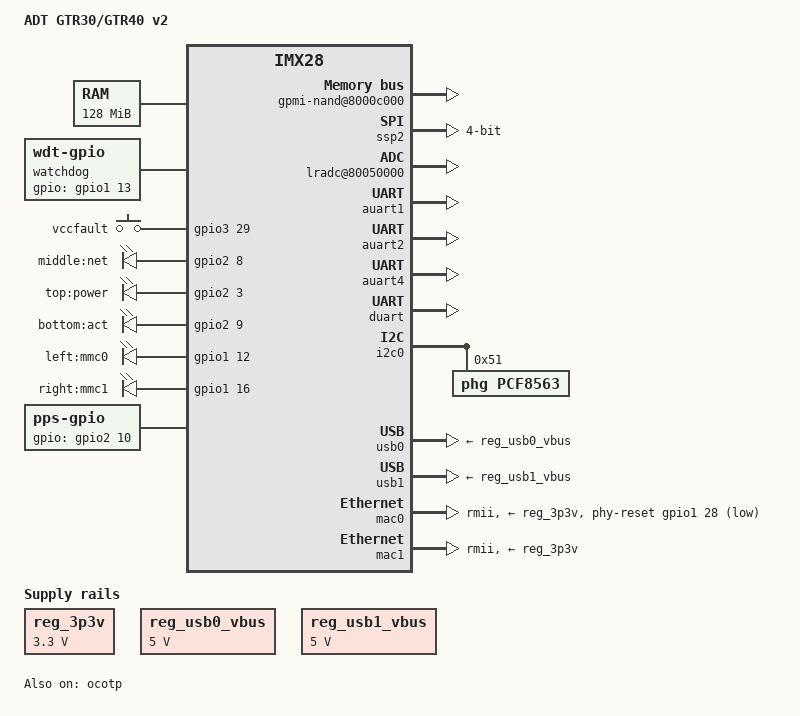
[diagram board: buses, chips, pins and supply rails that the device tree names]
/*
 *
 * Device Tree for rtu968_v1.0.1
 *
 */

/dts-v1/;
#include "imx28.dtsi"
/ {
	model = "ADT GTR30/GTR40 v2";
	compatible = "fsl,imx28";

	memory {
		reg = <0x40000000 0x08000000>;
	};

	apb@80000000 {
		apbh@80000000 
		{
			gpmi-nand@8000c000 
			{
				pinctrl-names = "default";
				pinctrl-0 = <&gpmi_pins_0 &gpmi_pins_1>;
				status = "okay";
			};
			pinctrl@80018000 
			{
				pinctrl-names = "default";
				pinctrl-0 = <&hog_pins>;
				auart4_pins: auart4-pins@0 {			/* RS232 */
					reg = <0>;
					fsl,pinmux-ids = <
						MX28_PAD_SSP3_SS0__AUART4_CTS
						MX28_PAD_SSP3_MISO__AUART4_RTS
						MX28_PAD_SSP3_MOSI__AUART4_RX
						MX28_PAD_SSP3_SCK__AUART4_TX
					>;
					fsl,drive-strength = <MXS_DRIVE_4mA>;
					fsl,voltage = <MXS_VOLTAGE_HIGH>;
					fsl,pull-up = <MXS_PULL_DISABLE>;
				};
				auart1_pins: auart1-pins@0 {					/* GPS  */
					reg = <0>;
					fsl,pinmux-ids = <
						MX28_PAD_AUART1_RX__AUART1_RX
						MX28_PAD_AUART1_TX__AUART1_TX
					>;
					fsl,drive-strength = <MXS_DRIVE_4mA>;
					fsl,voltage = <MXS_VOLTAGE_HIGH>;
					fsl,pull-up = <MXS_PULL_DISABLE>;
				};
				watchdog: watchdog@0 {
					reg = <0>;
					fsl,pinmux-ids = <
						MX28_PAD_LCD_D13__GPIO_1_13		/* WDGRES*/
					>;
					fsl,drive-strength = <MXS_DRIVE_4mA>;
					fsl,voltage = <MXS_VOLTAGE_HIGH>;
					fsl,pull-up = <MXS_PULL_DISABLE>;
				};
				gpio_pins_3V3: gpio-pins-3V3@0 {
					reg = <0>;
					fsl,pinmux-ids = <
						MX28_PAD_SSP2_MISO__GPIO_2_18			/* GSM.SIMA */

						MX28_PAD_AUART2_RX__GPIO_3_8			/* SIMDET.1# */
						MX28_PAD_SSP1_DATA3__GPIO_2_15			/* SIMDET.0# */
						MX28_PAD_AUART2_TX__GPIO_3_9			/* GSM.PWRKEY */
						MX28_PAD_SSP2_SS0__GPIO_2_19			/* GSM.VCCEN# */
						
						MX28_PAD_I2C0_SDA__GPIO_3_25		/* USBHOST.VCCEN.TRIG.STATE C*/
						MX28_PAD_SAIF1_SDATA0__GPIO_3_26		/* USBHOST.VCCEN.TRIG.CLK D*/
						MX28_PAD_PWM3__GPIO_3_28				/* USBHOST.MODE.SWITCHER */

						MX28_PAD_PWM4__GPIO_3_29				/* VCC.FAULT*/
						MX28_PAD_ENET0_TX_CLK__GPIO_4_5				/* GPIO on XW2 */
						MX28_PAD_ENET0_RX_CLK__GPIO_4_13			/* GPIO on XW2 */

						MX28_PAD_LCD_D19__GPIO_1_19				/* 0 PULLUP */
						MX28_PAD_LCD_D18__GPIO_1_18			/* 0 PULLDOWN */
						MX28_PAD_LCD_D22__GPIO_1_22			/* 1 PULLUP */
						MX28_PAD_LCD_D21__GPIO_1_21			/* 1 PULLDOWN */
						MX28_PAD_LCD_WR_RWN__GPIO_1_25			/* 2 PULLUP */
						MX28_PAD_SSP0_DATA0__GPIO_2_0		/* 2 PULLDOWN */
						MX28_PAD_SSP0_DATA2__GPIO_2_2			/* 3 PULLUP */
						MX28_PAD_SSP0_DATA1__GPIO_2_1			/* 3 PULLDOWN */
					>;
					fsl,drive-strength = <MXS_DRIVE_4mA>;
					fsl,voltage = <MXS_VOLTAGE_HIGH>;
					fsl,pull-up = <MXS_PULL_DISABLE>;
				};
				gpio_pins_1V8: gpio-pins-1V8@0 {
					reg = <0>;
					fsl,pinmux-ids = <
						MX28_PAD_SSP1_DATA0__GPIO_2_14			/* GSM.SIMDET */
						>;
					fsl,drive-strength = <MXS_DRIVE_4mA>;
					fsl,voltage = <MXS_VOLTAGE_LOW>;
					fsl,pull-up = <MXS_PULL_DISABLE>;
				};
				usb0_id_pins_cust: usb0id@0 {
					reg = <0>;
					fsl,pinmux-ids = <
						MX28_PAD_GPMI_RDY3__GPIO_0_23
					>;
					fsl,drive-strength = <MXS_DRIVE_12mA>;
					fsl,voltage = <MXS_VOLTAGE_HIGH>;
					fsl,pull-up = <MXS_PULL_ENABLE>;
				};
				/* NAND */
				gpmi_pins_0: gpmi-pins-0@0 {
					reg = <0>;
					fsl,pinmux-ids = <
						MX28_PAD_GPMI_ALE__GPMI_ALE
						MX28_PAD_GPMI_CLE__GPMI_CLE
						MX28_PAD_GPMI_CE0N__GPMI_CE0N
						MX28_PAD_GPMI_D00__GPMI_D0
						MX28_PAD_GPMI_D01__GPMI_D1
						MX28_PAD_GPMI_D02__GPMI_D2
						MX28_PAD_GPMI_D03__GPMI_D3
						MX28_PAD_GPMI_D04__GPMI_D4
						MX28_PAD_GPMI_D05__GPMI_D5
						MX28_PAD_GPMI_D06__GPMI_D6
						MX28_PAD_GPMI_D07__GPMI_D7
						MX28_PAD_GPMI_RDN__GPMI_RDN
						MX28_PAD_GPMI_RESETN__GPMI_RESETN
						MX28_PAD_GPMI_WRN__GPMI_WRN
					>;
					fsl,drive-strength = <MXS_DRIVE_4mA>;
					fsl,voltage = <MXS_VOLTAGE_HIGH>;
					fsl,pull-up = <MXS_PULL_DISABLE>;
				};
				gpmi_pins_1: gpmi-pins-1@0 {
					reg = <0>;
					fsl,pinmux-ids = <
						MX28_PAD_GPMI_RDY0__GPMI_READY0
					>;
					fsl,drive-strength = <MXS_DRIVE_8mA>;
					fsl,voltage = <MXS_VOLTAGE_HIGH>;
					fsl,pull-up = <MXS_PULL_ENABLE>;
				};
				hog_pins: hog-pins-high@0 {
					reg = <0>;
					fsl,pinmux-ids = <
						MX28_PAD_LCD_VSYNC__GPIO_1_28		/* ETH.RES# workaround init */
					>;
					fsl,drive-strength = <MXS_DRIVE_4mA>;
					fsl,voltage = <MXS_VOLTAGE_HIGH>;
					fsl,pull-up = <MXS_PULL_DISABLE>;
				};
				leds_pins: leds-pins@0 {
					reg = <0>;
					fsl,pinmux-ids = <
						MX28_PAD_SSP0_DETECT__GPIO_2_9			/* LED.BOT */
						MX28_PAD_SSP0_CMD__GPIO_2_8		/* LED.MID */
						MX28_PAD_SSP0_DATA3__GPIO_2_3			/* LED.TOP */
						MX28_PAD_LCD_D12__GPIO_1_12			/* LED.LEFT */
						MX28_PAD_LCD_D16__GPIO_1_16			/* LED.RIGHT */
					>;
					fsl,drive-strength = <MXS_DRIVE_4mA>;
					fsl,voltage = <MXS_VOLTAGE_HIGH>;
					fsl,pull-up = <MXS_PULL_DISABLE>;
				};
				pps_pins: pps-pins@0 {
					reg = <0>;
					fsl,pinmux-ids = <
						MX28_PAD_SSP0_SCK__GPIO_2_10 	/* GPS.PPS */
					>;
					fsl,drive-strength = <MXS_DRIVE_4mA>;
					fsl,voltage = <MXS_VOLTAGE_HIGH>;
					fsl,pull-up = <MXS_PULL_DISABLE>;
				};
				mmc0_4bit_pins_b: mmc0-4bit@0 {
					reg = <0>;
					fsl,pinmux-ids = <
						MX28_PAD_SSP0_DATA4__SSP2_D0
						MX28_PAD_SSP1_SCK__SSP2_D1
						MX28_PAD_SSP1_CMD__SSP2_D2
						MX28_PAD_SSP0_DATA5__SSP2_D3
						MX28_PAD_SSP0_DATA6__SSP2_CMD
						MX28_PAD_SSP0_DATA7__SSP2_SCK
					>;
					fsl,drive-strength = <MXS_DRIVE_8mA>;
					fsl,voltage = <MXS_VOLTAGE_HIGH>;
					fsl,pull-up = <MXS_PULL_ENABLE>;
				};
			};
			ssp2: ssp@80014000 {
				compatible = "fsl,imx28-mmc";
				pinctrl-names = "default";
				pinctrl-0 = <&mmc0_4bit_pins_b>;
				bus-width = <4>;
				status = "okay";
			};
			ocotp: ocotp@8002c000 
			{
				compatible = "fsl,imx28-ocotp", "fsl,ocotp";
				#address-cells = <1>;
				#size-cells = <1>;
				reg = <0x8002c000 0x2000>;
				clocks = <&clks 25>;
				status = "okay";
			};
		};
		apbx@80040000 {
			power@80044000 {
				status = "okay";
				reg_vddd: regulator@80044040 {
					status = "okay";
				};
				reg_vdda: regulator@80044050 {
					status = "okay";
				};
				reg_vddio: regulator@80044060 {
					status = "okay";
				};
			};
			lradc@80050000 {
				fsl,lradc-touchscreen-wires = <4>;
				status = "okay";
				fsl,lradc-touchscreen-wires = <4>;
				fsl,ave-ctrl = <4>;
				fsl,ave-delay = <2>;
				fsl,settling = <10>;
			};
			auart1: serial@8006c000 {
				pinctrl-names = "default";
				pinctrl-0 = <&auart1_2pins_a>;		/* Additional UART on XW2 */
				status = "okay";
			};
			auart2: serial@8006e000 {
		        pinctrl-names = "default";
		        pinctrl-0 = <&auart2_2pins_a>;		/* RS485 */
		        status = "okay";
			};
			auart4: serial@80072000 {
				pinctrl-names = "default";
				pinctrl-0 = <&auart4_pins>;
				status = "okay";
			};
			duart: serial@80074000 {
				pinctrl-names = "default";
				pinctrl-0 = <&duart_pins_a>;		/* Additional console */
				status = "okay";
			};
			i2c0: i2c@80058000 {					
				pinctrl-names = "default";
				pinctrl-0 = <&i2c0_pins_b>;			/* RTC */
				status = "okay";
				
				pcf8563: rtc@51 {                    
					compatible = "phg,pcf8563";
					reg = <0x51>;
				};
			};
			usbphy0: usbphy@8007c000 {
				status = "okay";
			};
			usbphy1: usbphy@8007e000 {
				status = "okay";
			};
		};
	};
	ahb@80080000 {
		usb0: usb@80080000 {
			pinctrl-names = "default";
			pinctrl-0 = <&usb0_pins_a &usb0_id_pins_b>;	/* HOST */
			vbus-supply = <&reg_usb0_vbus>;
			status = "okay";
		};
		usb1: usb@80090000 {
			pinctrl-names = "default";
			pinctrl-0 = <&usb1_pins_a>;					/* INTERNAL */
			vbus-supply = <&reg_usb1_vbus>;
			status = "okay";
		};
		mac0: ethernet@800f0000 {
			phy-mode = "rmii";
			pinctrl-names = "default";
			pinctrl-0 = <&mac0_pins_a>;
			phy-supply = <&reg_3p3v>;
			phy-reset-gpios = <&gpio1 28 GPIO_ACTIVE_LOW>;
			phy-reset-duration = <200>;
			status = "okay";
		};
		mac1: ethernet@800f4000 {
			phy-mode = "rmii";
			pinctrl-names = "default";
			pinctrl-0 = <&mac1_pins_a>;
			phy-supply = <&reg_3p3v>;
			status = "okay";
		};
	};
	gpio {
		compatible = "gpio-router";
		pinctrl-names = "default";
		pinctrl-0 = <&gpio_pins_3V3>;
		gpio_GSM_SIMA {
			label = "gsm:simnumber";
			gpios = <&gpio2 18 GPIO_ACTIVE_HIGH>;
			default-state = "off";
		};
		gpio_GSM_SIMDET_0 {
			label = "gsm:simdet0";
			input;
			gpios = <&gpio2 15 GPIO_ACTIVE_LOW>;
		};
		gpio_GSM_SIMDET_1 {
			label = "gsm:simdet1";
			gpios = <&gpio3 8 GPIO_ACTIVE_LOW>;
			input;
		};
		gpio_GSM_PWRKEY {
			label = "gsm:pwrkey";
			gpios = <&gpio3 9 GPIO_ACTIVE_HIGH>;
			default-state = "on";
		};
		gpio_GSM_VCCEN# {
			label = "gsm:vccen";
			gpios = <&gpio2 19 GPIO_ACTIVE_LOW>;
			default-state = "on";
		};
		gpio_USBHOST_VCCEN_C {
			label = "usb1:vccenC";
			gpios = <&gpio3 25 GPIO_ACTIVE_HIGH>;
			default-state = "on";
		};
		gpio_USBHOST_VCCEN_D {
			label = "usb1:vccenD";
			gpios = <&gpio3 26 GPIO_ACTIVE_HIGH>;
			default-state = "on";
		};
		gpio_USBHOST_MODESW {
			label = "usb1:modesw";
			gpios = <&gpio3 28 GPIO_ACTIVE_HIGH>;
			default-state = "on";
		};
	};
	gpio1V8 {
		compatible = "fsl,imx28-gpio";
		pinctrl-names = "default";
		pinctrl-0 = <&gpio_pins_1V8>;
			gpio_GSM_SIMDET {
		label = "gsm:simdet";
		gpios = <&gpio2 14 GPIO_ACTIVE_HIGH>;
		default-state = "off";
		};
	};
	watchdog {
		compatible = "linux,wdt-gpio";
		pinctrl-names = "default";
		pinctrl-0 = <&watchdog>;
		gpios = <&gpio1 13 GPIO_ACTIVE_HIGH>;
		hw_algo = "toggle";
		hw_margin_ms = <4000>;
		always-running = <1>;
	};
	vccfault {
		compatible = "gpio-keys";
		pinctrl-names = "default";
		pinctrl-0 = <&gpio_pins_3V3>;
		vcc_fault {
			label = "vccfault";
			gpios = <&gpio3 29 GPIO_ACTIVE_HIGH>;
			linux,code = <0x100>;
		};
	};
	leds {
		compatible = "gpio-leds";
		pinctrl-names = "default";
		pinctrl-0 = <&leds_pins>;
		failure {					/* NET */
			label = "middle:net";
			gpios = <&gpio2 8 GPIO_ACTIVE_HIGH>;
			default-state = "on";
		};
		power {						/* POWER */
			label = "top:power";
			gpios = <&gpio2 3 GPIO_ACTIVE_HIGH>;
			default-state = "on";
		};
		status {					/* ACT */
			label = "bottom:act";
			gpios = <&gpio2 9 GPIO_ACTIVE_HIGH>;
			default-state = "on";
		};
		mmc0 {						/* MMC0 */
			label = "left:mmc0";
			gpios = <&gpio1 12 GPIO_ACTIVE_HIGH>;
			default-state = "off";
		};
		mmc1 {						/* MMC1 */
			label = "right:mmc1";
			gpios = <&gpio1 16 GPIO_ACTIVE_HIGH>;
			default-state = "off";
		};
	};
	pps {
		compatible = "pps-gpio";
		pinctrl-names = "default";
		pinctrl-0 = <&pps_pins>;
		gpios = <&gpio2 10 GPIO_ACTIVE_HIGH>;
		status = "okay";
	};
	regulators {
		compatible = "simple-bus";
		reg_3p3v: 3p3v {
			compatible = "regulator-fixed";
			regulator-name = "3P3V";
			regulator-min-microvolt = <3300000>;
			regulator-max-microvolt = <3300000>;
			regulator-always-on;
		};
		reg_usb0_vbus: usb0_vbus {
			compatible = "regulator-fixed";
			regulator-name = "usb0_vbus";
			regulator-min-microvolt = <5000000>;
			regulator-max-microvolt = <5000000>;
			regulator-always-on;
		};
		reg_usb1_vbus: usb1_vbus {
			compatible = "regulator-fixed";
			regulator-name = "usb1_vbus";
			regulator-min-microvolt = <5000000>;
			regulator-max-microvolt = <5000000>;
			regulator-always-on;
		};
	};
};
